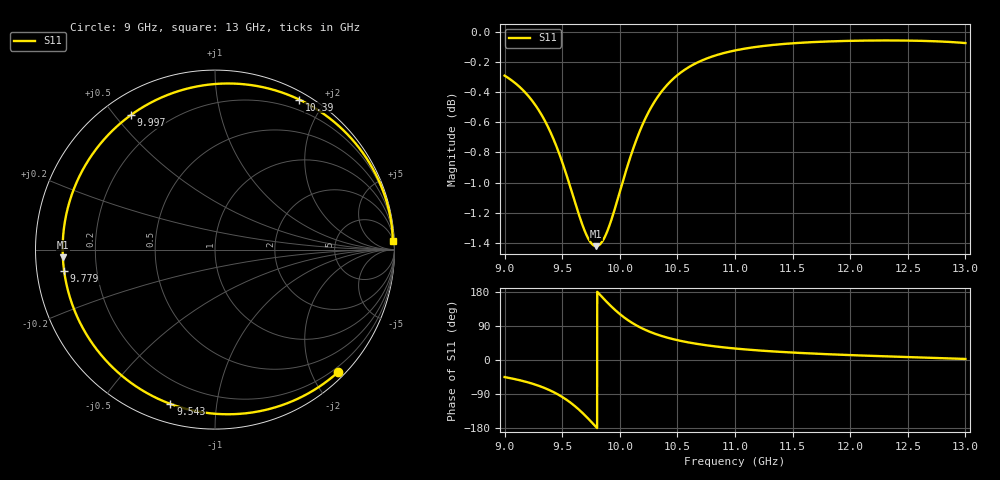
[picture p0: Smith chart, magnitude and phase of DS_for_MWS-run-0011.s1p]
! TOUCHSTONE file generated by CST DESIGN STUDIO
! Date and time: Tue Feb  4 16:05:22 2025
! Project name: C:\Work\MatlabApps\UnitCellOptimizationMatlab\CST\unitcell.cst
! Tree item: Tasks\Sweep1\SPara1\S-Parameters
! Header version: 2024
! Port assignment regex: !\s*Touchstone port\s*([0-9]+)\s*=\s*(CST MWS port|CST DES external port|CST DES block port)\s*(.+)\s* \(\"(.*)\"\)(\s*mode\s*([0-9]+))?.*
! Touchstone port assignment:
! Touchstone port 1 = CST DES external port 1 ("")
# GHz S MA R 50
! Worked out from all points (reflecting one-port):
!   4001 points, 9 GHz to 13 GHz, reference 50 ohm
!   lowest |S11| = -1.4 dB at 9.795 GHz (marker M1), VSWR 12.23, Z = 4.09 - j1.27 ohm
!   phase of S11 starts at -45 deg and turns -312 deg over the sweep
!   S11 on the Smith chart (normalised r, x): 9 GHz: 0.11, -2.41; 9.543 GHz: 0.09, -0.75; 9.779 GHz: 0.08, -0.07; 9.997 GHz: 0.08, +0.55; 10.39 GHz: 0.08, +1.71; 13 GHz: 7, +40
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9  0.9673 -45.1
9.144  0.9579 -54.3
9.275  0.9447 -65.8
9.389  0.9279 -79.4
9.448  0.9167 -88.3
9.5  0.9053 -97.5
9.543  0.895 -106.1
9.602  0.8802 -119.7
9.658  0.8666 -134.5
9.723  0.8542 -153.8
9.779  0.8491 -171.8
9.795  0.8488 -177.1
9.839  0.8509 168.5
9.884  0.8572 154.1
9.941  0.8695 137.1
9.997  0.8841 122.0
10  0.8849 121.3
10.072  0.9039 104.9
10.153  0.9229 89.8
10.268  0.9435 73.5
10.393  0.9587 60.6
10.5  0.9677 52.3
10.717  0.9788 40.4
11  0.9862 30.3
11.5  0.9916 19.6
12  0.9935 12.9
12.5  0.9937 7.7
13  0.9918 2.8
